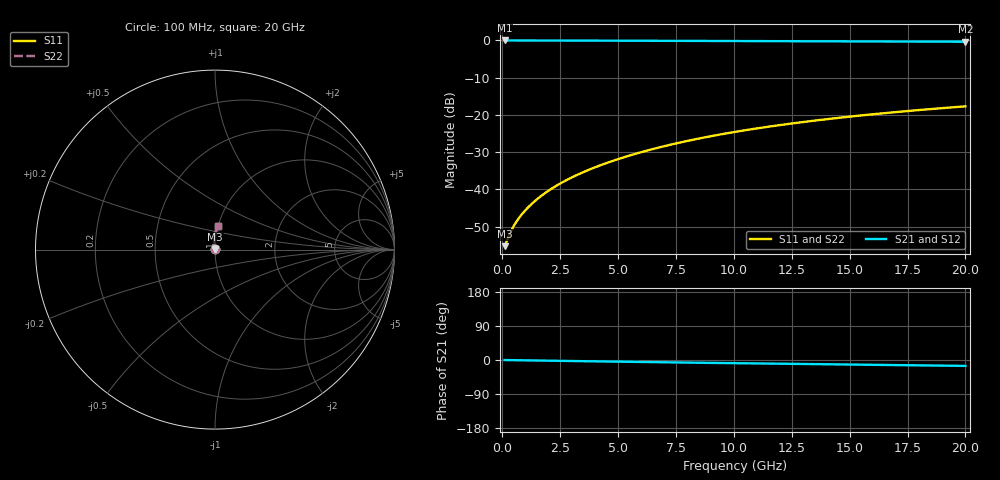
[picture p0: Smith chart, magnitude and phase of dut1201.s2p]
! Touchstone file exported from HFSS 2024.1.0
!  File:  C:/UserFiles/LocalFiles/RDL_TSV_Batchsim/temp_RDL_bottom_1201_1780243295.aedt
!  Generated:  12:04:10 AM Jun  1, 2026
!  Design:  RDL_bottom
!  Project:  temp_RDL_bottom_1201_1780243295
!  Setup:  Setup1
!  Solution:  Sweep
! Variables:
!  dtsv = 10.80580581um
!  hbump = 3um
!  htsv = 98.16um
!  ldown = 223.59um
!  lrdl = 100um
!  p = 40
!  p1 = 42.33um
!  rhole = 1um
!  t = 450um
!  tdown = 2.33um
!  trdl = 3.915915916um
!  wdown = 27.76um
!  wrdl = 20um
# GHz S MA R 50.000000
! Terminal data exported
! Port[1] = RDL1_T1
! Port[2] = RDL1_T2
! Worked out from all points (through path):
!   200 points, 100 MHz to 20 GHz, reference 50 ohm
!   highest |S21| = -0.01 dB at 100 MHz (marker M1); lowest = -0.4 dB at 20 GHz (marker M2)
!   group delay of S21, straight-line fit = 2.13 ps
!   lowest |S11| = -55.2 dB at 100 MHz (marker M3), VSWR 1.00, Z = 50.2 + j0.0591 ohm
!   |S11| at or under -10 dB: start of sweep to end of sweep
!   |S22| runs from -55.2 to -17.7 dB; largest |S21 - S12| = 3.2e-15
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0.1  0.001734 19.9  0.9984 -0.1  0.9984 -0.1  0.001734 19.9
! Gamma 0 0 0 0
! Port Impedance 50 0 50 0
0.3  0.002439 43.5  0.9982 -0.3  0.9982 -0.3  0.002439 43.5
0.4  0.00285 49.7  0.9981 -0.4  0.9981 -0.4  0.00285 49.7
0.6  0.003662 57.9  0.9979 -0.6  0.9979 -0.6  0.003662 57.9
0.7  0.004063 60.9  0.9978 -0.7  0.9978 -0.7  0.004063 60.9
0.9  0.004869 65.8  0.9976 -0.8  0.9976 -0.8  0.004869 65.8
1.2  0.00611 71.4  0.9973 -1.1  0.9973 -1.1  0.00611 71.4
1.4  0.006963 74.3  0.9971 -1.3  0.9971 -1.3  0.006963 74.3
1.7  0.008283 77.8  0.9968 -1.6  0.9968 -1.6  0.008283 77.8
2.2  0.01058 82.1  0.9962 -2.0  0.9962 -2.0  0.01058 82.1
2.8  0.01349 85.8  0.9954 -2.5  0.9954 -2.5  0.01349 85.7
3.5  0.01709 88.7  0.9942 -3.2  0.9942 -3.2  0.01709 88.7
4.2  0.02091 90.7  0.9929 -3.8  0.9929 -3.8  0.02091 90.7
5  0.02553 92.3  0.9912 -4.4  0.9912 -4.4  0.02553 92.3
5.9  0.03104 93.3  0.9892 -5.2  0.9892 -5.2  0.03103 93.3
6.8  0.03681 93.8  0.9871 -5.9  0.9871 -5.9  0.03681 93.8
8.4  0.0476 93.7  0.9833 -7.2  0.9833 -7.2  0.0476 93.7
10.1  0.05955 92.8  0.9794 -8.4  0.9794 -8.4  0.05954 92.8
11.7  0.07102 91.5  0.9759 -9.6  0.9759 -9.6  0.07102 91.5
13.4  0.08331 89.9  0.9723 -10.9  0.9723 -10.9  0.08331 89.9
16.7  0.1071 86.7  0.9659 -13.2  0.9659 -13.2  0.1071 86.7
20  0.1304 83.4  0.9599 -15.5  0.9599 -15.5  0.1304 83.4
